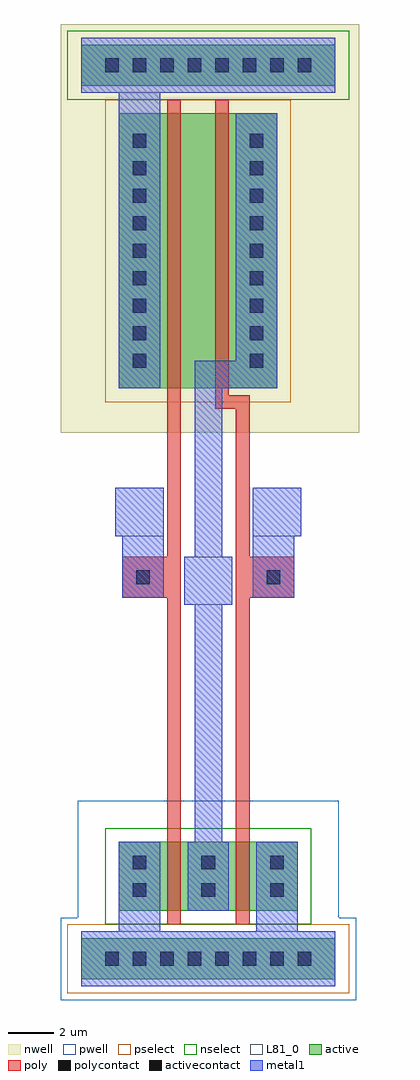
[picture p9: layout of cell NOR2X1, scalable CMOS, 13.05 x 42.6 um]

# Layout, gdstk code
import gdstk
lib = gdstk.Library(unit=1e-6, precision=1e-09)
def R(c, l, rs):  # rectangles x0, y0, x1, y1
    for r in rs: c.add(gdstk.rectangle(r[:2], r[2:], *l))
def A(c, l, x, y, w, h, nx, ny, dx, dy):  # array of equal rectangles
    R(c, l, [(x+i*dx, y+j*dy, x+i*dx+w, y+j*dy+h) for i in range(nx) for j in range(ny)])
pwell = (41, 0)
nwell = (42, 0)
active = (43, 0)
pselect = (44, 0)
nselect = (45, 0)
poly = (46, 0)
polycontact = (47, 0)
activecontact = (48, 0)
metal1 = (49, 0)
L81_0 = (81, 0)

nor2x1 = lib.new_cell('NOR2X1')
R(nor2x1, pwell, [(-1.95,-1.8,10.95,1.8), (-1.2,1.8,10.2,6.9)])
R(nor2x1, nwell, [(-1.95,22.95,11.1,40.8)])
R(nor2x1, active, [(-1.05,-0.9,10.05,0.9), (0.6,2.1,8.4,5.1), (0.6,24.9,7.5,36.9), (-1.05,38.1,10.05,39.9)])
R(nor2x1, pselect, [(-1.65,-1.5,10.65,1.5), (0,24.3,8.1,37.5)])
R(nor2x1, nselect, [(0,1.5,9,5.7), (-1.65,37.5,10.65,40.5)])
R(nor2x1, poly, [(2.7,1.5,3.3,15.75), (5.7,1.5,6.3,15.75), (0.75,15.75,3.3,17.55), (5.7,15.75,8.25,17.55), (2.7,17.55,3.3,37.5), (5.7,17.55,6.3,24), (4.8,24,6.3,24.6), (4.8,24.6,5.4,37.5)])
R(nor2x1, polycontact, [(1.35,16.35,1.95,16.95), (7.05,16.35,7.65,16.95)])
A(nor2x1, activecontact, 0, -0.3, 0.6, 0.6, 8, 2, 1.2, 39)
A(nor2x1, activecontact, 1.2, 2.7, 0.6, 0.6, 3, 2, 3, 1.2)
A(nor2x1, activecontact, 1.2, 25.8, 0.6, 0.6, 1, 9, 0, 1.2)
A(nor2x1, activecontact, 6.3, 25.8, 0.6, 0.6, 1, 9, 0, 1.2)
R(nor2x1, metal1, [(-1.05,-1.2,10.05,1.2), (0.6,1.2,2.4,5.1), (6.6,1.2,8.4,5.1), (3.6,2.1,5.4,5.1), (3.9,5.1,5.1,15.45), (3.45,15.45,5.55,17.55), (0.75,15.75,2.55,18.45), (6.45,15.75,8.25,18.45), (3.9,17.55,5.1,24.9), (0.45,18.45,2.55,20.55), (6.45,18.45,8.55,20.55), (0.6,24.9,2.4,37.8), (3.9,24.9,7.5,26.1), (5.7,26.1,7.5,36.9), (-1.05,37.8,10.05,40.2)])
R(nor2x1, L81_0, [(-1.05,-1.2,10.05,1.2), (3.45,15.45,5.55,17.55), (0.45,18.45,2.55,20.55), (6.45,18.45,8.55,20.55), (-1.05,37.8,10.05,40.2)])

lib.write_gds('NOR2X1.gds')
